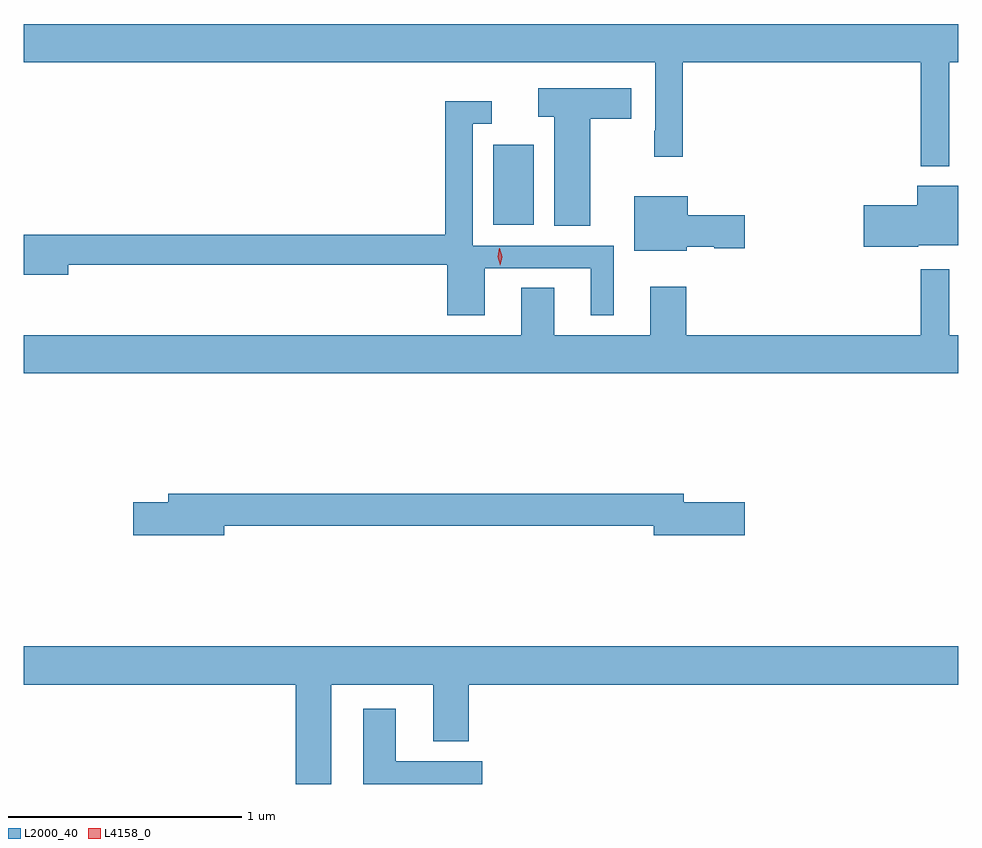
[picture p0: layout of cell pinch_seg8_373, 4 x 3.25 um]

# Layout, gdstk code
import gdstk
lib = gdstk.Library(unit=1e-6, precision=1e-09)
def R(c, l, rs):  # rectangles x0, y0, x1, y1
    for r in rs: c.add(gdstk.rectangle(r[:2], r[2:], *l))
def P(c, l, *ps):  # polygons
    for p in ps: c.add(gdstk.Polygon(p, *l))
L2000_40 = (2000, 40)
L4158_0 = (4158, 0)

pinch_seg8_373 = lib.new_cell('pinch_seg8_373')
R(pinch_seg8_373, L2000_40, [(423.953,1105.148,424.126,1105.492)])
P(pinch_seg8_373, L2000_40, [(425.905,1105.844),(425.943,1105.844),(425.943,1106.008),(421.943,1106.008),(421.943,1105.844),(424.647,1105.844),(424.647,1105.552),(424.642,1105.552),(424.642,1105.44),(424.763,1105.44),(424.763,1105.844),(425.784,1105.844),(425.784,1105.4),(425.905,1105.4)],
  [(424.369,1105.603),(424.543,1105.603),(424.543,1105.732),(424.146,1105.732),(424.146,1105.61),(424.214,1105.61),(424.214,1105.144),(424.369,1105.144)],
  [(423.916,1104.963),(424.37,1104.963),(424.37,1104.762),(424.468,1104.762),(424.468,1105.059),(423.864,1105.059),(423.864,1105.581),(423.946,1105.581),(423.946,1105.678),(423.748,1105.678),(423.748,1105.106),(421.943,1105.106),(421.943,1104.935),(422.134,1104.935),(422.134,1104.978),(423.755,1104.978),(423.755,1104.762),(423.916,1104.762)],
  [(425.772,1105.061),(425.943,1105.061),(425.943,1105.315),(425.768,1105.315),(425.768,1105.232),(425.538,1105.232),(425.538,1105.054),(425.772,1105.054)],
  [(424.782,1105.055),(424.899,1105.055),(424.899,1105.048),(425.029,1105.048),(425.029,1105.19),(424.786,1105.19),(424.786,1105.27),(424.556,1105.27),(424.556,1105.037),(424.782,1105.037)],
  [(425.943,1104.676),(425.905,1104.676),(425.905,1104.958),(425.784,1104.958),(425.784,1104.676),(424.778,1104.676),(424.778,1104.883),(424.625,1104.883),(424.625,1104.676),(424.213,1104.676),(424.213,1104.878),(424.073,1104.878),(424.073,1104.676),(421.943,1104.676),(421.943,1104.512),(425.943,1104.512)],
  [(422.8,1103.86),(424.64,1103.86),(424.64,1103.818),(425.029,1103.818),(425.029,1103.96),(424.768,1103.96),(424.768,1103.996),(422.561,1103.996),(422.561,1103.96),(422.412,1103.96),(422.412,1103.818),(422.8,1103.818)],
  [(423.259,1103.18),(423.695,1103.18),(423.695,1102.937),(423.848,1102.937),(423.848,1103.18),(425.943,1103.18),(425.943,1103.344),(421.943,1103.344),(421.943,1103.18),(423.107,1103.18),(423.107,1102.754),(423.259,1102.754)],
  [(423.905,1102.852),(423.535,1102.852),(423.535,1103.077),(423.395,1103.077),(423.395,1102.754),(423.905,1102.754)])
P(pinch_seg8_373, L4158_0, [(423.982,1104.975),(423.982,1104.975),(423.971,1105.011),(423.979,1105.047),(423.979,1105.047),(423.98,1105.047),(423.991,1105.011),(423.982,1104.975)])

lib.write_gds('pinch_seg8_373.gds')
